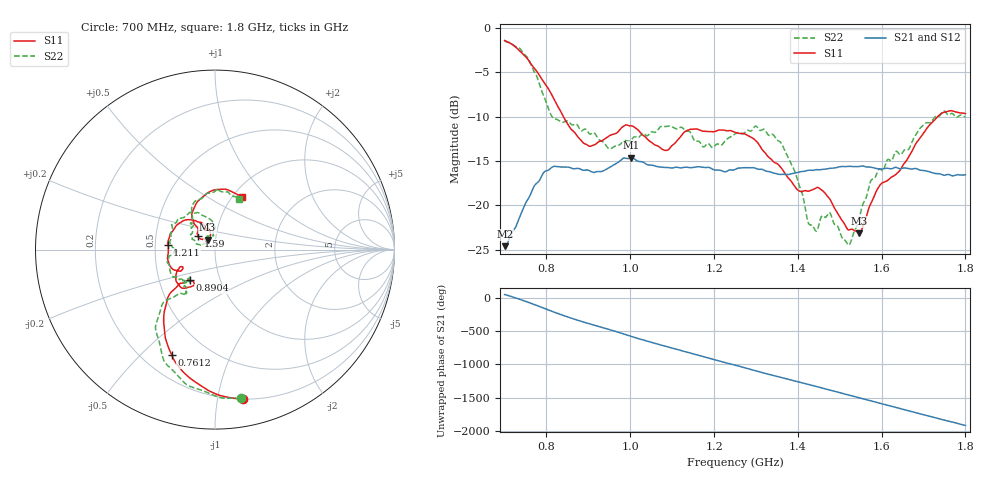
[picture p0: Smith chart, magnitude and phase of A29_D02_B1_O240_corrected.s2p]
! Created with skrf 1.9.0 (http://scikit-rf.org).
# Hz S RI R 50.0
!freq ReS11 ImS11 ReS21 ImS21 ReS12 ImS12 ReS22 ImS22
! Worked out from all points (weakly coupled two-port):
!   1601 points, 700 MHz to 1.8 GHz, reference 50 ohm
!   highest |S21| = -14.64 dB at 1.002 GHz (marker M1); lowest = -24.6 dB at 700.7 MHz (marker M2)
!   lowest |S11| = -23.2 dB at 1.547 GHz (marker M3), VSWR 1.15, Z = 45.8 + j5.14 ohm
!   |S11| at or under -10 dB: 840.2 MHz to 1.734 GHz (893.6 MHz wide, 69.4 % of centre)
!   |S22| runs from -24.5 to -1.5 dB; largest |S21 - S12| = 0.0035
!   S11 on the Smith chart (normalised r, x): 700 MHz: 0.20, -1.19; 761.2 MHz: 0.32, -0.62; 890.4 MHz: 0.71, -0.26; 1.211 GHz: 0.58, +0.03; 1.59 GHz: 0.82, +0.13; 1.8 GHz: 1.11, +0.72
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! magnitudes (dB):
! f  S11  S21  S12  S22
! 700 MHz  -1.4  -24.6  -24.4  -1.5
! 700.7 MHz  -1.4  -24.6  -24.3  -1.5
! 761.2 MHz  -4.0  -18.8  -18.7  -4.0
! 814.1 MHz  -7.7  -15.7  -15.7  -10.1
! 883.6 MHz  -12.7  -16.0  -15.9  -11.6
! 890.4 MHz  -13.0  -16.1  -16.0  -11.4
! 950.2 MHz  -12.2  -15.7  -15.7  -13.6
! 1.002 GHz  -11.0  -14.6  -14.7  -12.6
! 1.067 GHz  -13.4  -15.7  -15.6  -11.4
! 1.211 GHz  -11.5  -16.0  -16.0  -13.1
! 1.25 GHz  -11.8  -16.0  -15.9  -12.0
! 1.3 GHz  -12.7  -15.9  -15.8  -11.1
! 1.359 GHz  -15.7  -16.5  -16.5  -12.9
! 1.401 GHz  -18.3  -16.3  -16.3  -17.5
! 1.434 GHz  -18.3  -16.1  -16.0  -22.3
! 1.476 GHz  -19.2  -15.8  -15.9  -20.8
! 1.522 GHz  -22.8  -15.6  -15.6  -24.5
! 1.547 GHz  -23.2  -15.6  -15.6  -21.4
! 1.59 GHz  -18.2  -15.9  -15.9  -16.3
! 1.617 GHz  -17.1  -15.9  -15.8  -14.8
! 1.737 GHz  -9.8  -16.4  -16.5  -10.0
! 1.8 GHz  -9.7  -16.6  -16.6  -10.0
